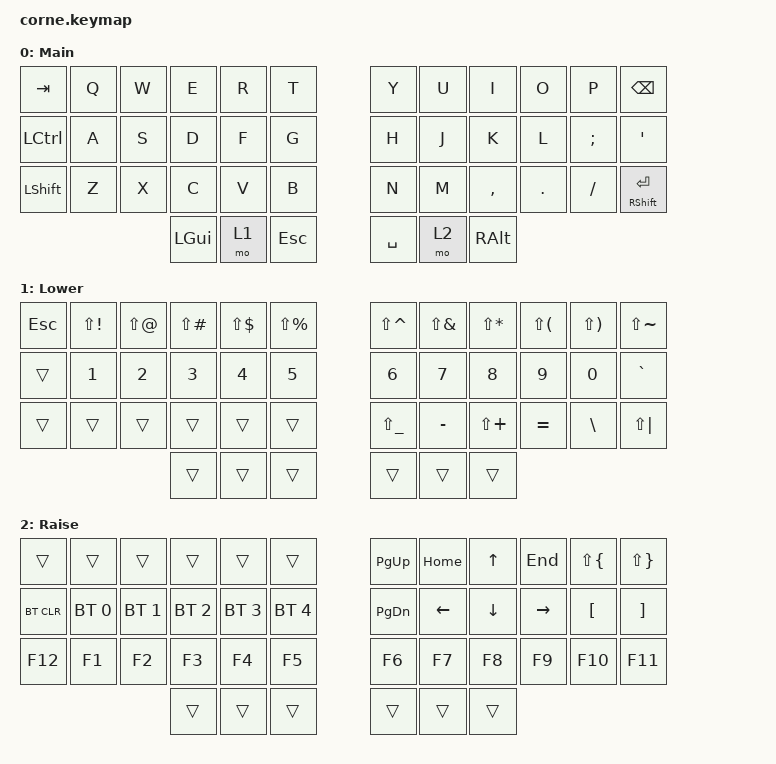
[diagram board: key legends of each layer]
/*
 * Copyright (c) 2020 The ZMK Contributors
 *
 * SPDX-License-Identifier: MIT
 */

#include <behaviors.dtsi>
#include <dt-bindings/zmk/keys.h>
#include <dt-bindings/zmk/bt.h>


/ {
    combos {
        compatible = "zmk,combos";

        Backspace {
            bindings = <&kp BACKSPACE>;
            key-positions = <33 32>;
        };

        Tab {
            bindings = <&kp TAB>;
            key-positions = <2 3>;
        };

        CapsLock {
            bindings = <&kp CAPS>;
            key-positions = <6 5>;
        };

        LParenthesis {
            bindings = <&kp LEFT_PARENTHESIS>;
            key-positions = <8 7>;
        };

        RParenthesis {
            bindings = <&kp RIGHT_PARENTHESIS>;
            key-positions = <9 8>;
        };

        LBrace {
            bindings = <&kp LEFT_BRACE>;
            key-positions = <19 20>;
        };

        RBrace {
            bindings = <&kp RIGHT_BRACE>;
            key-positions = <21 20>;
        };

        LBracket {
            bindings = <&kp LEFT_BRACKET>;
            key-positions = <32 31>;
        };

        RBracket {
            bindings = <&kp RIGHT_BRACKET>;
            key-positions = <33 32>;
        };

        HomeEsc {
            bindings = <&kp ESCAPE>;
            key-positions = <14 15 16>;
        };

        AltTab {
            bindings = <&kp LA(TAB)>;
            key-positions = <2 3 4>;
        };
    };

    keymap {
        compatible = "zmk,keymap";

        layer_0 {
            // -----------------------------------------------------------------------------------------
            // |  TAB |  Q  |  W  |  E  |  R  |  T  |   |  Y  |  U   |  I  |  O  |  P  | BKSP |
            // | CTRL |  A  |  S  |  D  |  F  |  G  |   |  H  |  J   |  K  |  L  |  ;  |  '   |
            // | SHFT |  Z  |  X  |  C  |  V  |  B  |   |  N  |  M   |  ,  |  .  |  /  |SH/ENT|
            //                    | GUI | LWR | ESC |   | SPC | RSE  | ALT |
            display-name = "Main";
            bindings = <
&kp TAB    &kp Q  &kp W  &kp E     &kp R  &kp T      &kp Y      &kp U  &kp I      &kp O    &kp P     &kp BSPC
&kp LCTRL  &kp A  &kp S  &kp D     &kp F  &kp G      &kp H      &kp J  &kp K      &kp L    &kp SEMI  &kp SQT
&kp LSHFT  &kp Z  &kp X  &kp C     &kp V  &kp B      &kp N      &kp M  &kp COMMA  &kp DOT  &kp FSLH  &mt RSHIFT ENTER
                         &kp LGUI  &mo 1  &kp ESC    &kp SPACE  &mo 2  &kp RALT
            >;
        };

        layer_1 {
            // -----------------------------------------------------------------------------------------
            // |  ESC |  !  |  @  |  #  |  $  |  %  |   |  ^  |  &  |  *  |  (  |  )  |   ~  |
            // |      |  1  |  2  |  3  |  4  |  5  |   |  6  |  7  |  8  |  9  |  0  |   `  |
            // |      |     |     |     |     |     |   |  -  |  -  |  +  |  =  |  \  |   |  |
            //                    |     |     |     |   |     |     |     |
            display-name = "Lower";
            bindings = <
&kp ESC  &kp LS(EXCL)  &kp LS(AT)  &kp LS(POUND)  &kp LS(DLLR)  &kp LS(PRCNT)    &kp LS(CARET)  &kp LS(AMPS)  &kp LS(STAR)  &kp LS(LPAR)  &kp LS(RPAR)  &kp LS(TILDE)
&trans   &kp N1        &kp N2      &kp N3         &kp N4        &kp N5           &kp N6         &kp N7        &kp N8        &kp N9        &kp N0        &kp GRAVE
&trans   &trans        &trans      &trans         &trans        &trans           &kp LS(UNDER)  &kp MINUS     &kp LS(PLUS)  &kp EQUAL     &kp BSLH      &kp LS(PIPE)
                                   &trans         &trans        &trans           &trans         &trans        &trans
            >;
        };

        layer_2 {
            // -----------------------------------------------------------------------------------------
            // |      |     |     |     |     |     |   |PGUP | HME | UP  | END |  {  |   }  |
            // | BTCLR| BT1 | BT2 | BT3 | BT4 | BT5 |   |PGDWN| LFT | DWN |RGHT |  [  |   ]  |
            // | F12  | F1  | F2  | F3  | F4  | F5  |   | F6  | F7  |  F8 | F9  | F10 |  F11 |
            //                    |     |     |     |   |     |     |    |
            
            display-name = "Raise";
            bindings = <
&trans      &trans        &trans        &trans        &trans        &trans          &kp PG_UP  &kp HOME  &kp UP    &kp END    &kp LS(LBRC)  &kp LS(RBRC)
&bt BT_CLR  &bt BT_SEL 0  &bt BT_SEL 1  &bt BT_SEL 2  &bt BT_SEL 3  &bt BT_SEL 4    &kp PG_DN  &kp LEFT  &kp DOWN  &kp RIGHT  &kp LBKT      &kp RBKT
&kp F12     &kp F1        &kp F2        &kp F3        &kp F4        &kp F5          &kp F6     &kp F7    &kp F8    &kp F9     &kp F10       &kp F11
                                        &trans        &trans        &trans          &trans     &trans    &trans
            >;
        };
    };
};
